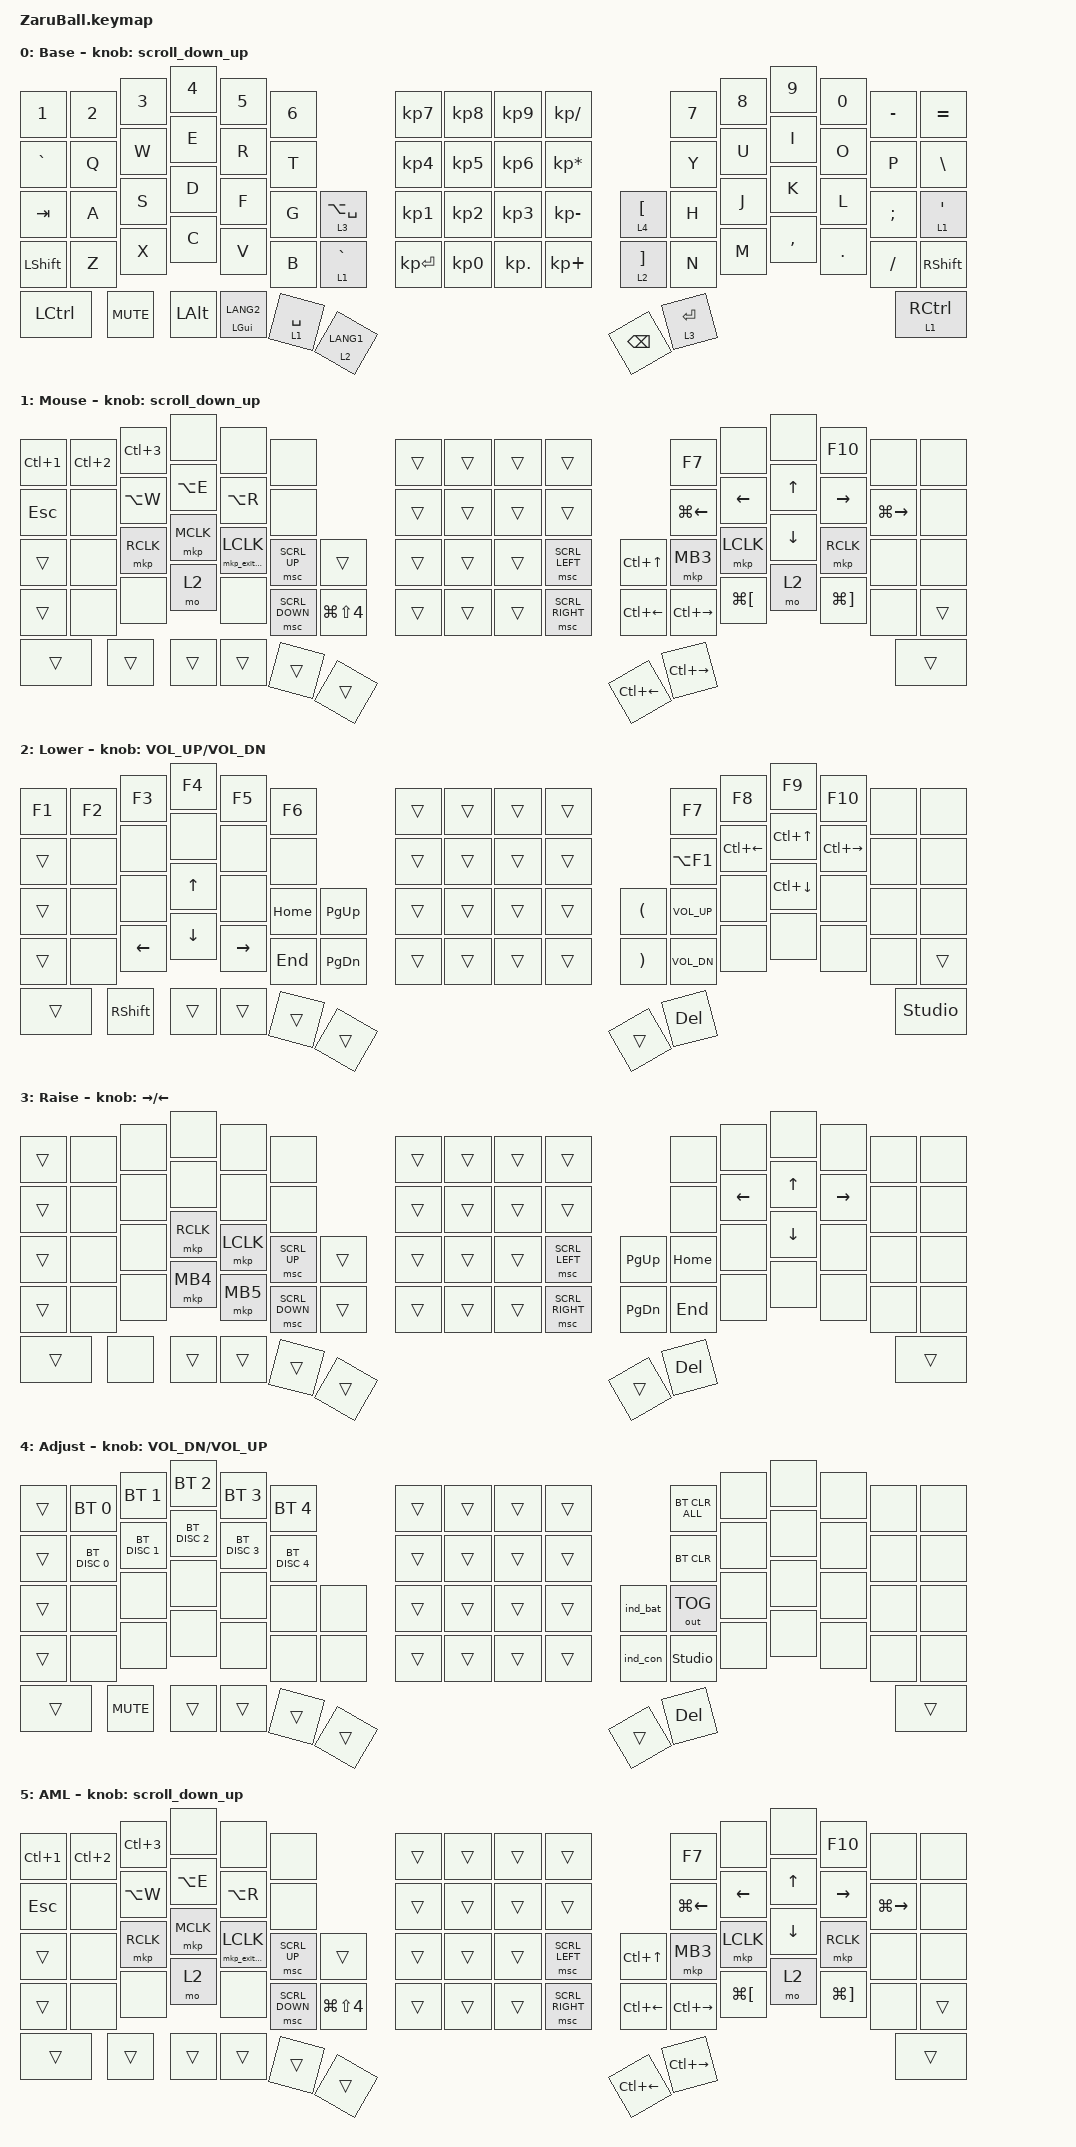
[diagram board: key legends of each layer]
#include <behaviors/rgbled_widget.dtsi>
#include <behaviors.dtsi>
#include <dt-bindings/zmk/bt.h>
#include <dt-bindings/zmk/keys.h>
#include <dt-bindings/zmk/outputs.h>
#include <dt-bindings/zmk/pointing.h>
#include <input/processors.dtsi>
#include <dt-bindings/zmk/input_transform.h>
#include <zmk-input-inertia/input/processor/input_inertia.dtsi>

// ============================================================
// Trackball settings — edit these to tune behavior
// ============================================================

// Move scaling  (speed = NUM / DEN)
#define MOVE_SCALER_NUM   4
#define MOVE_SCALER_DEN   3

// Scroll scaling (speed = NUM / DEN)
#define SCROLL_SCALER_NUM 1
#define SCROLL_SCALER_DEN 20

// Inertia — trigger (ms): sensor polling interval × 2 以上推奨
#define INERTIA_TRIGGER_MS              35

// Inertia — move
#define INERTIA_MOVE_DECAY              90   // 減衰率 0-100 (大きいほどゆっくり止まる)
#define INERTIA_MOVE_INTERVAL_MS        35
#define INERTIA_MOVE_THRESHOLD_START    15
#define INERTIA_MOVE_THRESHOLD_STOP      1

// Inertia — scroll
#define INERTIA_SCROLL_DECAY            85
#define INERTIA_SCROLL_INTERVAL_MS      65
#define INERTIA_SCROLL_THRESHOLD_START   2
#define INERTIA_SCROLL_THRESHOLD_STOP    0

// AML — 発動後 AML レイヤーを維持する時間 / 打鍵後に AML を抑止する時間
#define AML_TIMEOUT_MS     500
#define AML_PRIOR_IDLE_MS  300

// ============================================================

#define BASE     0
#define MOUSE    1
#define LOWER    2
#define RAISE    3
#define ADJUST   4
#define AML      5   // AML 専用 (中身は MOUSE と同じ)。&lt 1 の MOUSE と分けて、AML 解除で layer1 が落ちないようにする
#define SCROLL   2

// スクロール量の設定

#define ZMK_POINTING_DEFAULT_SCRL_VAL 100

&zip_inertia {
    trigger-ms = <INERTIA_TRIGGER_MS>;
    move-decay-factor-int = <INERTIA_MOVE_DECAY>;
    move-report-interval-ms = <INERTIA_MOVE_INTERVAL_MS>;
    move-threshold-start = <INERTIA_MOVE_THRESHOLD_START>;
    move-threshold-stop = <INERTIA_MOVE_THRESHOLD_STOP>;
    scroll-decay-factor-int = <INERTIA_SCROLL_DECAY>;
    scroll-report-interval-ms = <INERTIA_SCROLL_INTERVAL_MS>;
    scroll-threshold-start = <INERTIA_SCROLL_THRESHOLD_START>;
    scroll-threshold-stop = <INERTIA_SCROLL_THRESHOLD_STOP>;
};

// AML (auto mouse layer)
// - 打鍵後 AML_PRIOR_IDLE_MS 以内はボールが動いても AML レイヤーにしない (打鍵振動対策)
// - excluded-positions 以外のキーを押すと即 AML レイヤーを抜ける
//   (excluded が空だとキーでは抜けず timeout まで残る)
//   excluded: マウスボタン / スクロール / 修飾キー / mo 2
&zip_temp_layer {
    require-prior-idle-ms = <AML_PRIOR_IDLE_MS>;
    excluded-positions = <34 35 36 37 42 44 45 47 55 60 50 53 64 67 68 70 71>;
};

&trackball_listener {
    input-processors = <
                        &zip_temp_layer AML AML_TIMEOUT_MS
                        &zip_xy_scaler MOVE_SCALER_NUM MOVE_SCALER_DEN
                        &zip_inertia
                       >;
    scroller {
        layers = <SCROLL>;
        input-processors = <
                            &zip_xy_transform (INPUT_TRANSFORM_Y_INVERT)
                            &zip_xy_scaler SCROLL_SCALER_NUM SCROLL_SCALER_DEN
                            &zip_xy_to_scroll_mapper
                            &zip_inertia
                            >;
    };
};

/ {
    conditional_layers {
        compatible = "zmk,conditional-layers";

        tri_layer {
            if-layers = <2 3>;
            then-layer = <4>;
        };
    };
};

/ {
    behaviors {
        // スクロール用のbehaviorの設定

        scroll_down_up: sensor_rotate_mouse_wheel {
            compatible = "zmk,behavior-sensor-rotate";
            #sensor-binding-cells = <0>;
            bindings = <&msc SCRL_DOWN>, <&msc SCRL_UP>;

            tap-ms = <20>; // スクロールのタップ時間
        };

        td0: tap_dance_0 {
            compatible = "zmk,behavior-tap-dance";
            #binding-cells = <0>;
            tapping-term-ms = <200>;
            bindings = <&mt RCTL LANG2>, <&mo RAISE>, <&mo MOUSE>;
        };

        td1: tap_dance_1 {
            compatible = "zmk,behavior-tap-dance";
            #binding-cells = <0>;
            tapping-term-ms = <200>;
            bindings = <&mt LCTL LANG1>, <&mo RAISE>, <&mo MOUSE>;
        };

        // Customed Hold-Tap for SandS

        // Cmd / 英数 の兼用キー
        // hold-preferred: 押下中に他キーが押されたら Cmd (Cmd+C 等を素早く押しても確実に効く)
        //   ※ balanced だと Cmd を先に離す素早いショートカットが英数になってしまった
        // require-prior-idle-ms: 打鍵直後 (文章入力中) に押したら必ず英数
        gui_eisu: gui_eisu {
            compatible = "zmk,behavior-hold-tap";
            #binding-cells = <2>;
            flavor = "hold-preferred";
            tapping-term-ms = <200>;
            quick-tap-ms = <150>;
            require-prior-idle-ms = <200>;
            bindings = <&kp>, <&kp>;

            display-name = "Cmd/Eisu";
        };

        SandS: SandS {
            compatible = "zmk,behavior-hold-tap";
            #binding-cells = <2>;
            flavor = "tap-unless-interrupted";
            tapping-term-ms = <500>;
            quick-tap-ms = <500>;
            bindings = <&kp>, <&kp>;

            display-name = "SandS";
        };
    };
};

&sl { release-after-ms = <250>; }; // time needed for double click (for mkp_exit_AML)
/ {
    macros {
        // When in AML, move to default layer when key (except mouse button) pressed

        to_layer_0: to_layer_0 {
            compatible = "zmk,behavior-macro-one-param";
            #binding-cells = <1>;
            bindings = <&tog MOUSE &macro_param_1to1 &kp MACRO_PLACEHOLDER>;
            label = "TO_layer_0";
        };

        // When LCLK pressed, exit AML (after 250ms cause by sticky layer

        mkp_exit_AML: mkp_exit_AML {
            compatible = "zmk,behavior-macro-one-param";
            #binding-cells = <1>;
            bindings =
                <&macro_press>,
                <&macro_param_1to1 &mkp MACRO_PLACEHOLDER>,
                <&macro_pause_for_release>,
                <&macro_release>,
                <&macro_param_1to1 &mkp MACRO_PLACEHOLDER>,
                <&macro_tap>,
                <&sl MOUSE>;

            label = "MKP_EXIT_AML";
        };
    };
};

/ {
    keymap {
        compatible = "zmk,keymap";

        base_layer {
            display-name = "Base";
            sensor-bindings = <&scroll_down_up>;
            bindings = <
&kp N1     &kp N2      &kp N3  &kp N4        &kp N5          &kp N6                          &kp KP_N7     &kp KP_N8  &kp KP_N9   &kp KP_DIVIDE                     &kp N7       &kp N8  &kp N9     &kp N0   &kp MINUS  &kp EQUAL
&kp GRAVE  &kp Q       &kp W   &kp E         &kp R           &kp T                           &kp KP_N4     &kp KP_N5  &kp KP_N6   &kp KP_MULTIPLY                   &kp Y        &kp U   &kp I      &kp O    &kp P      &kp BSLH
&kp TAB    &kp A       &kp S   &kp D         &kp F           &kp G        &lt 3 LA(SPACE)    &kp KP_N1     &kp KP_N2  &kp KP_N3   &kp KP_MINUS       &lt 4 LBKT     &kp H        &kp J   &kp K      &kp L    &kp SEMI   &lt 1 SQT
&kp LSHFT  &kp Z       &kp X   &kp C         &kp V           &kp B        &lt 1 GRAVE        &kp KP_ENTER  &kp KP_N0  &kp KP_DOT  &kp KP_PLUS        &lt 2 RBKT     &kp N        &kp M   &kp COMMA  &kp DOT  &kp FSLH   &kp RSHFT
&kp LCTRL  &kp C_MUTE          &kp LEFT_ALT  &gui_eisu LGUI LANG2  &lt 1 SPACE  &lt 2 LANG1                                                                &kp BACKSPACE  &lt 3 ENTER                                         &lt 1 RCTRL
            >;
        };

        mouse_layer {
            display-name = "Mouse";
            sensor-bindings = <&scroll_down_up>;
            bindings = <
&kp LC(N1)  &kp LC(N2)  &kp LC(N3)  &none      &none               &none                             &trans  &trans  &trans  &trans                           &kp F7         &none         &none     &kp F10       &none          &none
&kp ESC     &none       &kp LA(W)   &kp LA(E)  &kp LA(R)           &none                             &trans  &trans  &trans  &trans                           &kp LG(LEFT)   &kp LEFT      &kp UP    &kp RIGHT     &kp LG(RIGHT)  &none
&trans      &none       &mkp RCLK   &mkp MCLK  &mkp_exit_AML LCLK  &msc SCRL_UP    &trans            &trans  &trans  &trans  &msc SCRL_LEFT     &kp LC(UP)    &mkp MB3       &mkp LCLK     &kp DOWN  &mkp RCLK     &none          &none
&trans      &none       &none       &mo 2      &none               &msc SCRL_DOWN  &kp LG(LS(N4))    &trans  &trans  &trans  &msc SCRL_RIGHT    &kp LC(LEFT)  &kp LC(RIGHT)  &kp LG(LBKT)  &mo 2     &kp LG(RBKT)  &none          &trans
&trans      &trans                  &trans     &trans              &trans          &trans                                                       &kp LC(LEFT)  &kp LC(RIGHT)                                                       &trans
            >;
        };

        lower_layer {
            display-name = "Lower";
            sensor-bindings = <&inc_dec_kp C_VOL_UP C_VOL_DN>;
            bindings = <
&kp F1  &kp F2     &kp F3    &kp F4    &kp F5     &kp F6                 &trans  &trans  &trans  &trans              &kp F7        &kp F8        &kp F9        &kp F10        &none  &none
&trans  &none      &none     &none     &none      &none                  &trans  &trans  &trans  &trans              &kp LA(F1)    &kp LC(LEFT)  &kp LC(UP)    &kp LC(RIGHT)  &none  &none
&trans  &none      &none     &kp UP    &none      &kp HOME  &kp PG_UP    &trans  &trans  &trans  &trans    &kp LPAR  &kp C_VOL_UP  &none         &kp LC(DOWN)  &none          &none  &none
&trans  &none      &kp LEFT  &kp DOWN  &kp RIGHT  &kp END   &kp PG_DN    &trans  &trans  &trans  &trans    &kp RPAR  &kp C_VOL_DN  &none         &none         &none          &none  &trans
&trans  &kp RSHFT            &trans    &trans     &trans    &trans                                         &trans    &kp DEL                                                         &studio_unlock
            >;
        };

        raise_layer {
            display-name = "Raise";
            sensor-bindings = <&inc_dec_kp RIGHT LEFT>;
            bindings = <
&trans  &none  &none  &none      &none      &none                     &trans  &trans  &trans  &trans                        &none     &none     &none     &none      &none  &none
&trans  &none  &none  &none      &none      &none                     &trans  &trans  &trans  &trans                        &none     &kp LEFT  &kp UP    &kp RIGHT  &none  &none
&trans  &none  &none  &mkp RCLK  &mkp LCLK  &msc SCRL_UP    &trans    &trans  &trans  &trans  &msc SCRL_LEFT     &kp PG_UP  &kp HOME  &none     &kp DOWN  &none      &none  &none
&trans  &none  &none  &mkp MB4   &mkp MB5   &msc SCRL_DOWN  &trans    &trans  &trans  &trans  &msc SCRL_RIGHT    &kp PG_DN  &kp END   &none     &none     &none      &none  &none
&trans  &none         &trans     &trans     &trans          &trans                                               &trans     &kp DEL                                         &trans
            >;
        };

        adjust_layer {
            display-name = "Adjust";
            sensor-bindings = <&inc_dec_kp C_VOL_DN C_VOL_UP>;
            bindings = <
&trans  &bt BT_SEL 0   &bt BT_SEL 1   &bt BT_SEL 2   &bt BT_SEL 3   &bt BT_SEL 4             &trans  &trans  &trans  &trans              &bt BT_CLR_ALL  &none  &none  &none  &none  &none
&trans  &bt BT_DISC 0  &bt BT_DISC 1  &bt BT_DISC 2  &bt BT_DISC 3  &bt BT_DISC 4            &trans  &trans  &trans  &trans              &bt BT_CLR      &none  &none  &none  &none  &none
&trans  &none          &none          &none          &none          &none          &none     &trans  &trans  &trans  &trans    &ind_bat  &out OUT_TOG    &none  &none  &none  &none  &none
&trans  &none          &none          &none          &none          &none          &none     &trans  &trans  &trans  &trans    &ind_con  &studio_unlock  &none  &none  &none  &none  &none
&trans  &kp C_MUTE                    &trans         &trans         &trans         &trans                                      &trans    &kp DEL                                     &trans
            >;
        };

        // AML 専用レイヤー: mouse_layer と同じ内容を保つこと
        aml_layer {
            display-name = "AML";
            sensor-bindings = <&scroll_down_up>;
            bindings = <
&kp LC(N1)  &kp LC(N2)  &kp LC(N3)  &none      &none               &none                             &trans  &trans  &trans  &trans                           &kp F7         &none         &none     &kp F10       &none          &none
&kp ESC     &none       &kp LA(W)   &kp LA(E)  &kp LA(R)           &none                             &trans  &trans  &trans  &trans                           &kp LG(LEFT)   &kp LEFT      &kp UP    &kp RIGHT     &kp LG(RIGHT)  &none
&trans      &none       &mkp RCLK   &mkp MCLK  &mkp_exit_AML LCLK  &msc SCRL_UP    &trans            &trans  &trans  &trans  &msc SCRL_LEFT     &kp LC(UP)    &mkp MB3       &mkp LCLK     &kp DOWN  &mkp RCLK     &none          &none
&trans      &none       &none       &mo 2      &none               &msc SCRL_DOWN  &kp LG(LS(N4))    &trans  &trans  &trans  &msc SCRL_RIGHT    &kp LC(LEFT)  &kp LC(RIGHT)  &kp LG(LBKT)  &mo 2     &kp LG(RBKT)  &none          &trans
&trans      &trans                  &trans     &trans              &trans          &trans                                                       &kp LC(LEFT)  &kp LC(RIGHT)                                                       &trans
            >;
        };

        // Extra layer can be added in ZMK STUDIO

        extra1 { status = "reserved"; };

        extra2 { status = "reserved"; };
    };
};
